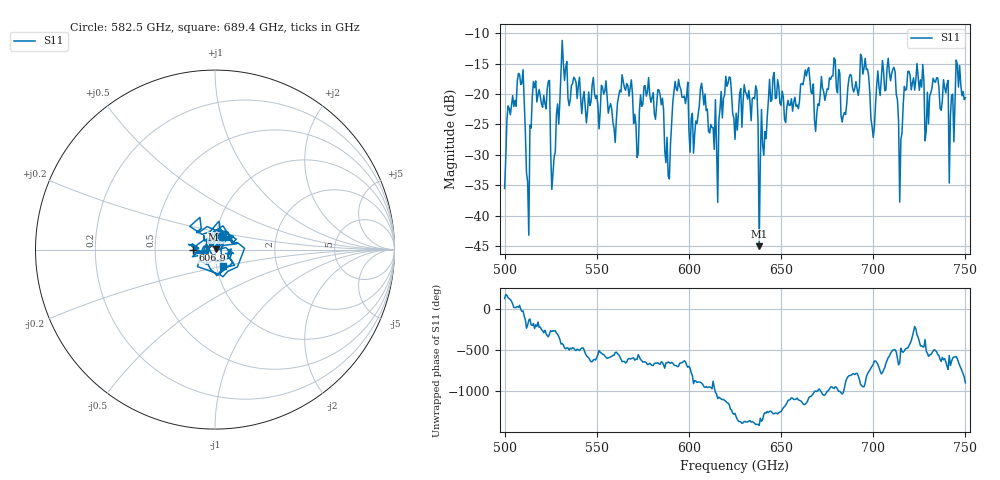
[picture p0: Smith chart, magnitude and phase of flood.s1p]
!Created with skrf (http://scikit-rf.org).
# GHz S RI R 50.0
!freq ReS11 ImS11
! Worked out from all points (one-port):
!   401 points, 500 GHz to 750 GHz, reference 50 ohm
!   lowest |S11| = -45.0 dB at 638.1 GHz (marker M1), VSWR 1.01, Z = 50.5 + j0.243 ohm
!   |S11| at or under -10 dB: start of sweep to end of sweep
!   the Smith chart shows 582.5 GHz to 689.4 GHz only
!   S11 on the Smith chart (normalised r, x): 582.5 GHz: 1.06, +0.16; 606.9 GHz: 0.78, -0.00; 689.4 GHz: 1.07, -0.20
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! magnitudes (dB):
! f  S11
! 500 GHz  -35.5
! 508.8 GHz  -18.4
! 512.5 GHz  -34.4
! 516.9 GHz  -17.9
! 523.1 GHz  -19.1
! 526.2 GHz  -33.1
! 531.2 GHz  -11.2
! 562.5 GHz  -19.4
! 582.5 GHz  -21.7
! 588.1 GHz  -27.1
! 593.8 GHz  -19.5
! 601.9 GHz  -23.2
! 606.9 GHz  -18.2
! 614.4 GHz  -20.9
! 621.2 GHz  -18.2
! 625 GHz  -27.5
! 635.6 GHz  -20.8
! 638.1 GHz  -45.0
! 645 GHz  -21.0
! 656.2 GHz  -22.8
! 687.5 GHz  -16.8
! 689.4 GHz  -19.7
! 696.2 GHz  -16.0
! 700 GHz  -27.1
! 710.6 GHz  -15.9
! 715 GHz  -27.5
! 718.8 GHz  -16.3
! 750 GHz  -20.6
